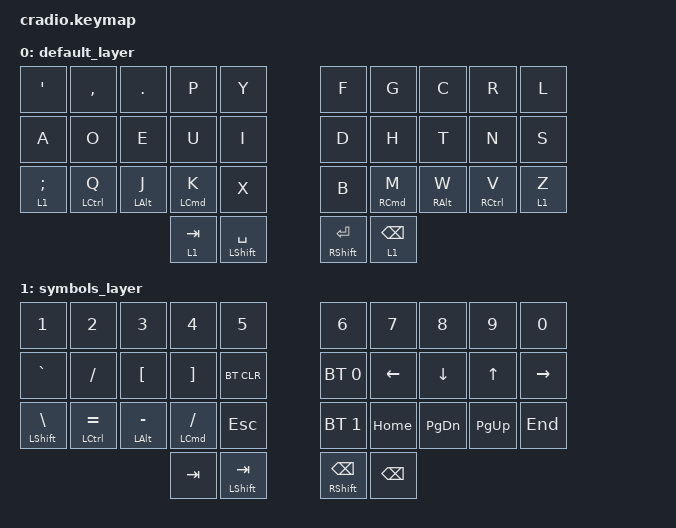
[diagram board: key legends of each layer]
#include <behaviors.dtsi>
#include <dt-bindings/zmk/keys.h>
#include <dt-bindings/zmk/bt.h>

&mt {
    flavor = "tap-preferred";
    tapping_term_ms = <175>;
};


/ {

    combos {
        compatible = "zmk,combos";
        combo_esc {
            timeout-ms = <100>;
            key-positions = <0 10>;
            bindings = <&kp ESC>;
        };
    };

    keymap {
        compatible = "zmk,keymap";

        default_layer {
            bindings = <
            &kp QUOT        &kp CMMA    &kp DOT     &kp P       &kp Y           &kp F           &kp G       &kp C       &kp R       &kp L
            &kp A           &kp O       &kp E       &kp U       &kp I           &kp D           &kp H       &kp T       &kp N       &kp S
            &lt 1 SEMI      &mt LCTRL Q &mt LALT J  &mt LCMD K  &kp X           &kp B           &mt RCMD M  &mt RALT W  &mt RCTRL V &lt 1 Z
                                                    &lt 1 TAB   &mt LSHFT SPC   &mt RSHFT RET   &lt 1 BKSP
            >;
        };

        symbols_layer {
            bindings = <
            &kp NUM_1       &kp NUM_2       &kp NUM_3       &kp NUM_4       &kp NUM_5       &kp NUM_6   &kp NUM_7   &kp NUM_8   &kp NUM_9   &kp NUM_0
            &kp GRAVE       &kp SLASH       &kp LBKT        &kp RBKT        &bt BT_CLR      &bt BT_SEL 0       &kp LEFT    &kp DOWN    &kp UP      &kp RIGHT
            &mt LSHFT BSLH  &mt LCTRL EQL   &mt LALT MINUS  &mt LCMD SLASH  &kp ESC         &bt BT_SEL 1       &kp HOME    &kp PG_DN   &kp PG_UP   &kp END
                                                            &kp TAB       &mt LSHFT TAB   &mt RSHFT BKSP    &kp BKSP
            >;
        };

    };
};
